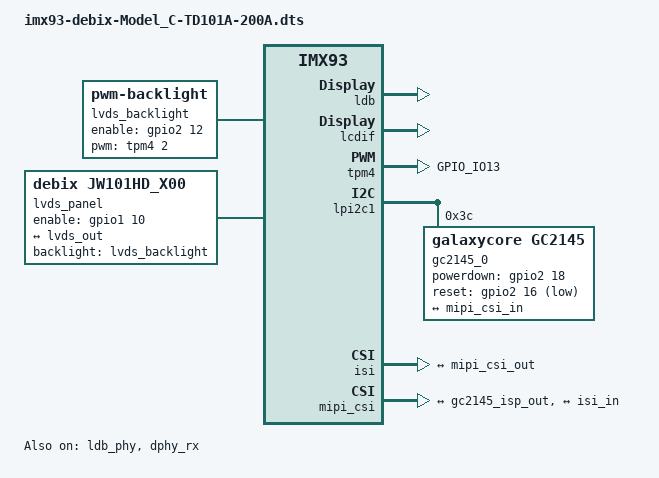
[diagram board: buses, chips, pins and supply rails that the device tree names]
// SPDX-License-Identifier: (GPL-2.0+ OR MIT)
/*
 * Copyright 2022 NXP
 */

#if 0
#include "imx93-11x11-evk.dts"
#else
#include "imx93-debix-Model_C.dts"
#endif
/ {

	lvds_backlight: lvds_backlight {
		compatible = "pwm-backlight";
		pinctrl-names = "default";
		pinctrl-0 = <&pinctrl_pwm>;
		pwms = <&tpm4 2 100000 0>;
		enable-gpios = <&gpio2 12 GPIO_ACTIVE_HIGH>;
		//power-supply = <&reg_vdd_12v>;
		status = "okay";

		brightness-levels = < 0  1  2  3  4  5  6  7  8  9
				     10 11 12 13 14 15 16 17 18 19
				     20 21 22 23 24 25 26 27 28 29
				     30 31 32 33 34 35 36 37 38 39
				     40 41 42 43 44 45 46 47 48 49
				     50 51 52 53 54 55 56 57 58 59
				     60 61 62 63 64 65 66 67 68 69
				     70 71 72 73 74 75 76 77 78 79
				     80 81 82 83 84 85 86 87 88 89
				     90 91 92 93 94 95 96 97 98 99
				    100>;
		default-brightness-level = <80>;
		post-pwm-on-delay-ms = <30>;
        pwm-off-delay-ms = <30>;
	};

	lvds_panel {
		pinctrl-names = "default";
		pinctrl-0 = <&pinctrl_lvds>;
		compatible = "debix,JW101HD_X00";
		//compatible = "debix,HC101IK25050-D59V.C";
        backlight = <&lvds_backlight>;
		enable-gpios = <&gpio1 10 GPIO_ACTIVE_HIGH>;

		port {
			panel_lvds_in: endpoint {
				remote-endpoint = <&lvds_out>;
			};
		};
	};

};

&ldb {
	status = "okay";

	lvds-channel@0 {
		//fsl,data-mapping = "jeida";
		fsl,data-mapping = "spwg";
		fsl,data-width = <24>;
		status = "okay";

		port@1 {
			reg = <1>;

			lvds_out: endpoint {
				remote-endpoint = <&panel_lvds_in>;
			};
		};
	};
};



&ldb_phy {
	status = "okay";
};

//disable mipi dphy and dsi for lvds panel
&dphy {
	status = "disabled";
};

&dsi {
	status = "disabled";
};

//set lcdif status to okay
&lcdif {
	status = "okay";
	//assigned-clock-rates = <498000000>, <71142857>, <400000000>, <133333333>;
	//assigned-clock-rates = <300000000>, <74250000>, <400000000>, <133333333>;
	//assigned-clock-rates = <484000000>, <69142857>, <400000000>, <133333333>;
	assigned-clock-rates = <460259800>, <65751400>, <400000000>, <133333333>; 
};



//Add for TPM4 by debix
&tpm4 {
	pinctrl-names = "default";
	pinctrl-0 = <&pinctrl_pwm4>;
	status = "okay";
};



&lpi2c1 {
// Add for ISI and MIPI CSI
		gc2145_0: gc2145_mipi@3c {
		compatible = "galaxycore,gc2145";
		reg = <0x3c>;
		pinctrl-names = "default";
		pinctrl-0 = <&pinctrl_csi0_pwn>, <&pinctrl_csi0_rst>, <&pinctrl_csi0_mclk>;
		//pinctrl-0 = <&pinctrl_csi0_mclk>;
		clocks = <&clk IMX93_CLK_CCM_CKO3>;//Note: this is the clock for mclk
		clock-names = "xclk";
		assigned-clocks = <&clk IMX93_CLK_CCM_CKO3>;
        assigned-clock-parents = <&clk IMX93_CLK_24M>;
        assigned-clock-rates = <24000000>;
		csi_id = <0>;
		// powerdown-gpios = <&pca9535 3 GPIO_ACTIVE_HIGH>;
		// reset-gpios = <&pca9535_1 15 GPIO_ACTIVE_LOW>;
		powerdown-gpios = <&gpio2 18 GPIO_ACTIVE_HIGH>;
		reset-gpios = <&gpio2 16 GPIO_ACTIVE_LOW>;
		//mclk = <24000000>;
		//mclk_source = <0>;
		mipi_csi;
		status = "okay";



		port {
			#address-cells = <1>;
			#size-cells = <0>;

				gc2145_isp_out: endpoint {
					remote-endpoint = <&mipi_csi_in>;
					#if 1
						data-lanes = <1 2>;
					#else
						data-lanes = <1>;
					#endif
						clock-lanes = <0>;
					link-frequencies = /bits/ 64 <120000000 192000000 240000000>;
				};

			// port {
			// 		gc2145_mipi_ep: endpoint {
			// 				remote-endpoint = <&mipi_csi_ep>;
			// 				data-lanes = <1 2>;
			// 				clock-lanes = <0>;
			// 				// link-frequencies = /bits/ 64 <240000000>;
			// 				link-frequencies = /bits/ 64 <120000000 192000000 240000000>;
			// 		};
			//     };
			// };
		};

	};
//End of MIPI CSI


};

// Add for ISI and MIPI CSI
&dphy_rx {
	status = "okay";
};
&isi{

	status = "okay";
		port {
		isi_in: endpoint {
			remote-endpoint = <&mipi_csi_out>;
		};
	};

};

&mipi_csi {
	status = "okay";

		ports {
		#address-cells = <1>;
		#size-cells = <0>;

		port@0 {
			reg = <0>;

			mipi_csi_in: endpoint {
				remote-endpoint = <&gc2145_isp_out>;
			#if 1
				data-lanes = <1 2>;
			#else
				data-lanes = <1>;
			#endif
				// clock-lanes = <0>;
			#if 1
				cfg-clk-range = <28>; /*24MHz = 28*/
				hs-clk-range = <0x16>;  
				bus-type = <4>;
			#endif
			};
		};

		port@1 {
			reg = <1>;

			mipi_csi_out: endpoint {
				remote-endpoint = <&isi_in>;
			};
		};
	};

	// port@0 {
	// 	reg = <0>;
	// 	mipi_csi_ep: endpoint {
	// 		remote-endpoint = <&gc2145_mipi_ep>;
	// 		data-lanes = <1>;
	// 		cfg-clk-range = <28>;
	// 		hs-clk-range = <0x2B>;
	// 		bus-type = <1>;
			
	// 	};
	// };
};
//End of MIPI CSI




&iomuxc {
        pinctrl_lvds: lvdsengrp {
        fsl,pins = <
			MX93_PAD_PDM_BIT_STREAM1__GPIO1_IO10 0x31e
                >;
        };
        pinctrl_pwm: pwmgrp {
         fsl,pins = <
			MX93_PAD_GPIO_IO12__GPIO2_IO12	0x31e
			//MX93_PAD_GPIO_IO13__GPIO2_IO13	0x139e
                >;
        };
		pinctrl_pwm4: pwm4grp {
		fsl,pins = <
			MX93_PAD_GPIO_IO13__TPM4_CH2 0x139e
		>;
	};

	//Add for camera 
	pinctrl_csi0_pwn: csi0_pwn_grp {
                fsl,pins = <
                         MX93_PAD_GPIO_IO18__GPIO2_IO18		0x31e
                >;
        };
	pinctrl_csi0_rst: csi0_rst_grp {
                fsl,pins = <
                         MX93_PAD_GPIO_IO16__GPIO2_IO16		0x31e
                >;
        };
	pinctrl_csi0_mclk: csi0_mclk_grp {
                fsl,pins = <
			 MX93_PAD_CCM_CLKO3__CCMSRCGPCMIX_CLKO3  0x31e //need to set to 0x31e pull up 
			// MX93_PAD_CCM_CLKO3__CCMSRCGPCMIX_CLKO3  0x1fe
                >;
        };

};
